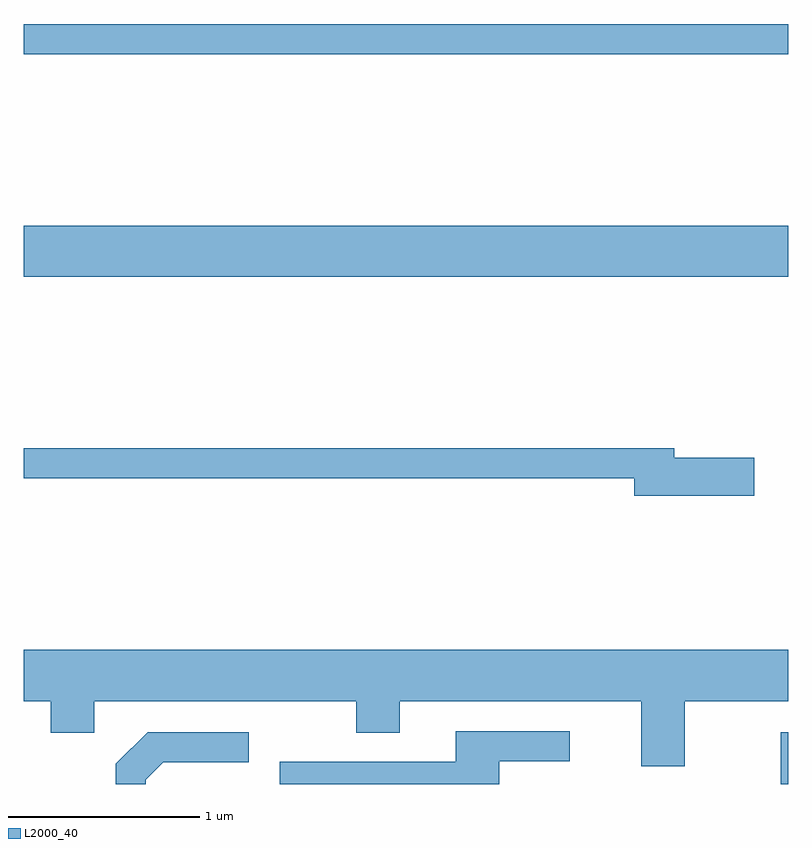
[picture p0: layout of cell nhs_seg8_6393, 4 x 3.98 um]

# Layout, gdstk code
import gdstk
lib = gdstk.Library(unit=1e-6, precision=1e-09)
def R(c, l, rs):  # rectangles x0, y0, x1, y1
    for r in rs: c.add(gdstk.rectangle(r[:2], r[2:], *l))
def P(c, l, *ps):  # polygons
    for p in ps: c.add(gdstk.Polygon(p, *l))
L2000_40 = (2000, 40)

nhs_seg8_6393 = lib.new_cell('nhs_seg8_6393')
R(nhs_seg8_6393, L2000_40, [(379.571,1920.342,379.611,1920.614), (375.611,1922.996,379.611,1923.264), (375.611,1924.161,379.611,1924.319)])
P(nhs_seg8_6393, L2000_40, [(379.434,1922.049),(379.014,1922.049),(379.014,1922.099),(375.611,1922.099),(375.611,1921.941),(378.806,1921.941),(378.806,1921.851),(379.434,1921.851)],
  [(379.069,1920.776),(379.611,1920.776),(379.611,1921.044),(375.611,1921.044),(375.611,1920.776),(375.751,1920.776),(375.751,1920.611),(375.979,1920.611),(375.979,1920.776),(377.351,1920.776),(377.351,1920.611),(377.579,1920.611),(377.579,1920.776),(378.841,1920.776),(378.841,1920.436),(379.069,1920.436)],
  [(378.099,1920.461),(378.468,1920.461),(378.468,1920.619),(377.871,1920.619),(377.871,1920.459),(376.951,1920.459),(376.951,1920.342),(378.099,1920.342)],
  [(376.249,1920.364),(376.342,1920.456),(376.788,1920.456),(376.788,1920.614),(376.259,1920.614),(376.091,1920.447),(376.091,1920.342),(376.249,1920.342)])

lib.write_gds('nhs_seg8_6393.gds')
